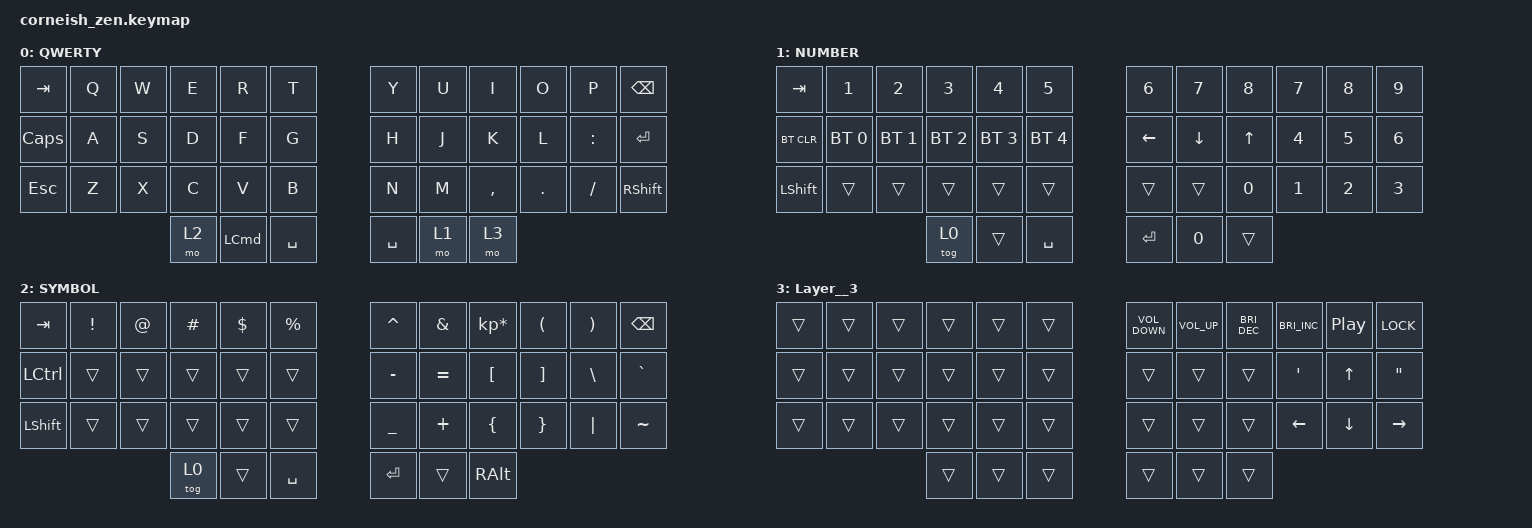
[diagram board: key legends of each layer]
#include <behaviors.dtsi>
#include <dt-bindings/zmk/bt.h>
#include <dt-bindings/zmk/keys.h>

/ {
    chosen {
        zmk,matrix_transform = &default_transform;

        //zmk,matrix_transform = &five_column_transform;
    };
};

/ {
    combos {
        compatible = "zmk,combos";

        exclamation_mark {
            bindings = <&kp EXCLAMATION>;
            key-positions = <35 1>;
        };

        quotation {
            bindings = <&kp DOUBLE_QUOTES>;
            key-positions = <35 22>;
        };

        new_combo {
            bindings = <&kp AT>;
            key-positions = <35 2>;
        };

        hashtag {
            bindings = <&kp HASH>;
            key-positions = <35 3>;
        };

        euro {
            bindings = <&kp DOLLAR>;
            key-positions = <35 4>;
        };

        percentage {
            bindings = <&kp PERCENT>;
            key-positions = <35 5>;
        };

        caret {
            bindings = <&kp CARET>;
            key-positions = <35 6>;
        };

        and {
            bindings = <&kp AMPS>;
            key-positions = <35 7>;
        };

        star {
            bindings = <&kp KP_MULTIPLY>;
            key-positions = <35 8>;
        };

        left_parenthesis {
            bindings = <&kp LEFT_PARENTHESIS>;
            key-positions = <35 9>;
        };

        right_parenthesis {
            bindings = <&kp RIGHT_PARENTHESIS>;
            key-positions = <35 10>;
        };

        underescore {
            bindings = <&kp UNDER>;
            key-positions = <35 11>;
        };

        minus {
            bindings = <&kp MINUS>;
            key-positions = <35 18>;
        };

        plus {
            bindings = <&kp PLUS>;
            key-positions = <35 19>;
        };

        equals {
            bindings = <&kp EQUAL>;
            key-positions = <35 20>;
        };

        left_brace {
            bindings = <&kp LEFT_BRACE>;
            key-positions = <35 21>;
        };

        right_brace {
            bindings = <&kp RIGHT_BRACE>;
            key-positions = <35 22>;
        };
    };

    macros {
    };

    keymap {
        compatible = "zmk,keymap";

        default_layer {
            label = "QWERTY";

            // -----------------------------------------------------------------------------------------
            // |  TAB |  Q  |  W  |  E  |  R  |  T  |   |  Y  |  U   |  I  |  O  |  P  | BKSP |
            // | CTRL |  A  |  S  |  D  |  F  |  G  |   |  H  |  J   |  K  |  L  |  ;  |  '   |
            // | SHFT |  Z  |  X  |  C  |  V  |  B  |   |  N  |  M   |  ,  |  .  |  /  | ESC  |
            //                    | GUI | LWR | SPC |   | ENT | RSE  | ALT |

            bindings = <
 &kp TAB  &kp Q  &kp W  &kp E             &kp R      &kp T        &kp Y  &kp U      &kp I    &kp O      &kp P         &kp BSPC
&kp CAPS  &kp A  &kp S  &kp D             &kp F      &kp G        &kp H  &kp J      &kp K    &kp L  &kp COLON        &kp ENTER
 &kp ESC  &kp Z  &kp X  &kp C             &kp V      &kp B        &kp N  &kp M  &kp COMMA  &kp DOT  &kp SLASH  &kp RIGHT_SHIFT
                        &mo 2  &kp LEFT_COMMAND  &kp SPACE    &kp SPACE  &mo 1      &mo 3
            >;
        };

        lower_layer {
            label = "NUMBER";

            // -----------------------------------------------------------------------------------------
            // |  TAB |  1  |  2  |  3  |  4  |  5  |   |  6  |  7  |  8  |  9  |  0  | BKSP |
            // | BTCLR| BT1 | BT2 | BT3 | BT4 | BT5 |   | LFT | DWN |  UP | RGT |     |      |
            // | SHFT |     |     |     |     |     |   |     |     |     |     |     |      |
            //                    | GUI |     | SPC |   | ENT |     | ALT |

            bindings = <
   &kp TAB        &kp N1        &kp N2        &kp N3        &kp N4        &kp N5      &kp N6        &kp N7        &kp N8  &kp NUMBER_7  &kp NUMBER_8  &kp NUMBER_9
&bt BT_CLR  &bt BT_SEL 0  &bt BT_SEL 1  &bt BT_SEL 2  &bt BT_SEL 3  &bt BT_SEL 4    &kp LEFT      &kp DOWN        &kp UP  &kp NUMBER_4  &kp NUMBER_5  &kp NUMBER_6
 &kp LSHFT        &trans        &trans        &trans        &trans        &trans      &trans        &trans  &kp NUMBER_0  &kp NUMBER_1  &kp NUMBER_2  &kp NUMBER_3
                                              &tog 0        &trans     &kp SPACE     &kp RET  &kp NUMBER_0        &trans
            >;
        };

        raise_layer {
            label = "SYMBOL";

            // -----------------------------------------------------------------------------------------
            // |  TAB |  !  |  @  |  #  |  $  |  %  |   |  ^  |  &  |  *  |  (  |  )  | BKSP |
            // | CTRL |     |     |     |     |     |   |  -  |  =  |  [  |  ]  |  \  |  `   |
            // | SHFT |     |     |     |     |     |   |  _  |  +  |  {  |  }  | "|" |  ~   |
            //                    | GUI |     | SPC |   | ENT |     | ALT |

            bindings = <
  &kp TAB  &kp EXCL  &kp AT  &kp HASH  &kp DLLR  &kp PRCNT    &kp CARET   &kp AMPS  &kp KP_MULTIPLY  &kp LPAR  &kp RPAR   &kp BSPC
&kp LCTRL    &trans  &trans    &trans    &trans     &trans    &kp MINUS  &kp EQUAL         &kp LBKT  &kp RBKT  &kp BSLH  &kp GRAVE
&kp LSHFT    &trans  &trans    &trans    &trans     &trans    &kp UNDER   &kp PLUS         &kp LBRC  &kp RBRC  &kp PIPE  &kp TILDE
                               &tog 0    &trans  &kp SPACE      &kp RET     &trans         &kp RALT
            >;
        };

        Layer__3 {
            bindings = <
&trans  &trans  &trans  &trans  &trans  &trans    &kp C_VOLUME_DOWN  &kp C_VOLUME_UP  &kp C_BRIGHTNESS_DEC  &kp C_BRIGHTNESS_INC  &kp C_PLAY_PAUSE         &kp K_LOCK
&trans  &trans  &trans  &trans  &trans  &trans               &trans           &trans                &trans      &kp SINGLE_QUOTE            &kp UP  &kp DOUBLE_QUOTES
&trans  &trans  &trans  &trans  &trans  &trans               &trans           &trans                &trans              &kp LEFT          &kp DOWN          &kp RIGHT
                        &trans  &trans  &trans               &trans           &trans                &trans
            >;
        };
    };
};
